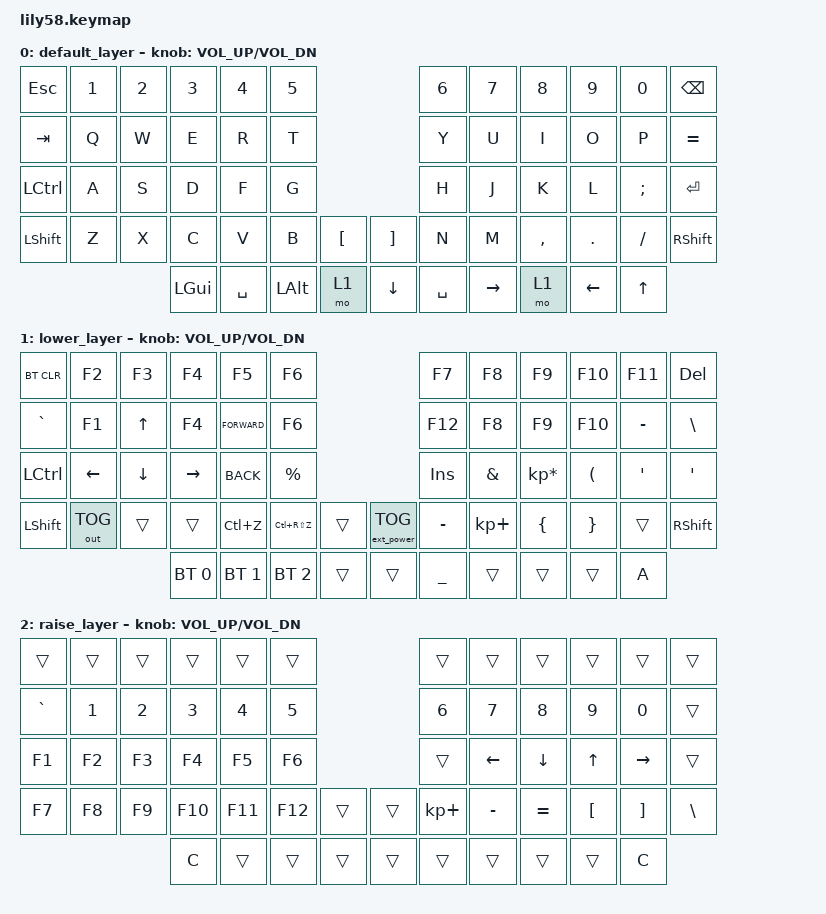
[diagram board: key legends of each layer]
/*
 * Copyright (c) 2020 The ZMK Contributors
 *
 * SPDX-License-Identifier: MIT
 */
// set up stuff
// pip3 install --user -U west
// echo 'export PATH=~/.local/bin:"$PATH"' >> ~/.bashrc
// source ~/.bashrc
// reopen this repo in container (can be via vscode prompt)
// west init -l app/                if never done before
// west update && pip3 install --user -r zephyr/scripts/requirements-base.txt && source zephyr/zephyr-env.sh
// run from zmk/app west build -p -b mikoto_520 -d build/left -- -DSHIELD=lily58_left -DZMK_CONFIG="/workspaces/zmk/app/my_config/config"
// run from zmk/app west build -p -b mikoto_520 -d build/right -- -DSHIELD=lily58_right -DZMK_CONFIG="/workspaces/zmk/app/my_config"
// sudo docker cp <docker id>:/workspaces/zmk/app/build/left/zephyr/zmk.uf2 <some local folder>
// sudo docker cp <docker id>:/workspaces/zmk/app/build/right/zephyr/zmk.uf2 <some local folder>
// if right side is not communicating, check toggle external power

#include <behaviors.dtsi>
#include <dt-bindings/zmk/keys.h>
#include <dt-bindings/zmk/bt.h>
#include <dt-bindings/zmk/ext_power.h>
#include <dt-bindings/zmk/outputs.h>
/ {
	keymap {
		compatible = "zmk,keymap";

		default_layer {
// ------------------------------------------------------------------------------------------------------------
// |  ESC  |  1  |  2  |  3   |  4   |  5   |                   |  6   |  7    |  8    |  9   |   0   |   `   |
// |  TAB  |  Q  |  W  |  E   |  R   |  T   |                   |  Y   |  U    |  I    |  O   |   P   |   -   |
// |  CTRL |  A  |  S  |  D   |  F   |  G   |                   |  H   |  J    |  K    |  L   |   ;   |   '   |
// | SHIFT |  Z  |  X  |  C   |  V   |  B   |   "["  |  |  "]"  |  N   |  M    |  ,    |  .   |   /   | SHIFT |
//                     | ALT  | GUI  | LOWER|  SPACE |  | ENTER | RAISE| BSPC  | GUI   |
			bindings = <
&kp ESC   &kp N1 &kp N2 &kp N3   &kp N4   &kp N5                     &kp N6 &kp N7   &kp N8    &kp N9  &kp N0   &kp BACKSPACE
&kp TAB   &kp Q  &kp W  &kp E    &kp R    &kp T                      &kp Y  &kp U    &kp I     &kp O   &kp P    &kp EQUAL
&kp LCTRL &kp A  &kp S  &kp D    &kp F    &kp G                      &kp H  &kp J    &kp K     &kp L   &kp SEMI &kp ENTER
&kp LSHFT &kp Z  &kp X  &kp C    &kp V    &kp B &kp LBKT   &kp RBKT &kp N &kp M    &kp COMMA &kp DOT &kp FSLH &kp RSHFT
                    &kp LGUI  &kp SPACE &kp LALT &mo 1  &kp DOWN  &kp SPACE  &kp RIGHT  &mo 1 &kp LEFT &kp UP
			>;
			sensor-bindings = <&inc_dec_kp C_VOL_UP C_VOL_DN>;
		};

		lower_layer {
// ------------------------------------------------------------------------------------------------------------
// | BTCLR | BT1 | BT2 |  BT3 |  BT4 |  BT5 |                   |      |       |       |      |       |       |
// |  F1   |  F2 |  F3 |  F4  |  F5  |  F6  |                   |  F7  |  F8   |  F9   |  F10 |  F11  |  F12  |
// |   `   |  !  |  @  |  #   |  $   |  %   |                   |  ^   |  &    |  *    |  (   |   )   |   ~   |
// |       |     |     |      |      |      |        |  |       |      |  _    |  +    |  {   |   }   |  "|"  |+-
//                     |      |      |      |        |  |       |      |       |       |
			bindings = <
&bt BT_CLR     &kp F2           &kp F3            &kp F4            &kp F5       &kp F6                 &kp F7    &kp F8    &kp F9          &kp F10   &kp F11      &kp DELETE
&kp GRAVE     &kp F1           &kp UP            &kp F4            &kp K_FORWARD       &kp F6                       &kp F12    &kp F8    &kp F9   &kp F10  &kp MINUS  &kp BSLH
&kp LCTRL  &kp LEFT         &kp DOWN            &kp RIGHT          &kp K_BACK   &kp PRCNT                    &kp INSERT &kp AMPS  &kp KP_MULTIPLY &kp LPAR  &kp APOSTROPHE  &kp APOSTROPHE
&kp LSHFT &out OUT_TOG     &trans  &trans &kp LC(Z)      &kp LC(RS(Z))        &trans  &ext_power EP_TOG   &kp MINUS &kp KP_PLUS     &kp LBRC  &kp RBRC &trans  &kp RSHIFT
                                        &bt BT_SEL 0   &bt BT_SEL 1     &bt BT_SEL 2       &trans    &trans   &kp UNDERSCORE    &trans    &trans    &trans &kp A
			>;

			sensor-bindings = <&inc_dec_kp C_VOL_UP C_VOL_DN>;
		};

		raise_layer {
// ------------------------------------------------------------------------------------------------------------
// |       |     |     |      |      |      |                   |      |       |       |      |       |       |
// |   `   |  1  |  2  |  3   |  4   |  5   |                   |  6   |   7   |   8   |  9   |   0   |       |
// |   F1  |  F2 |  F3 |  F4  |  F5  |  F6  |                   |      |   <-  |   ^   |  v   |  ->   |       |
// |   F7  |  F8 |  F9 |  F10 |  F11 |  F12 |        |  |       |  +   |   -   |   =   |  [   |   ]   |   \   |
//                     |      |      |      |        |  |       |      |       |       |
			bindings = <
&trans    &trans &trans &trans  &trans  &trans                       &trans      &trans    &trans    &trans   &trans    &trans
&kp GRAVE &kp N1 &kp N2 &kp N3  &kp N4  &kp N5                       &kp N6      &kp N7    &kp N8    &kp N9   &kp N0    &trans
&kp F1    &kp F2 &kp F3 &kp F4  &kp F5  &kp F6                       &trans      &kp LEFT  &kp DOWN  &kp UP   &kp RIGHT &trans
&kp F7    &kp F8 &kp F9 &kp F10 &kp F11 &kp F12   &trans   &trans    &kp KP_PLUS &kp MINUS &kp EQUAL &kp LBKT &kp RBKT  &kp BSLH
                     &kp C   &trans  &trans  &trans    &trans   &trans    &trans      &trans    &trans &kp C
			>;

			sensor-bindings = <&inc_dec_kp C_VOL_UP C_VOL_DN>;
		};
	};
};
